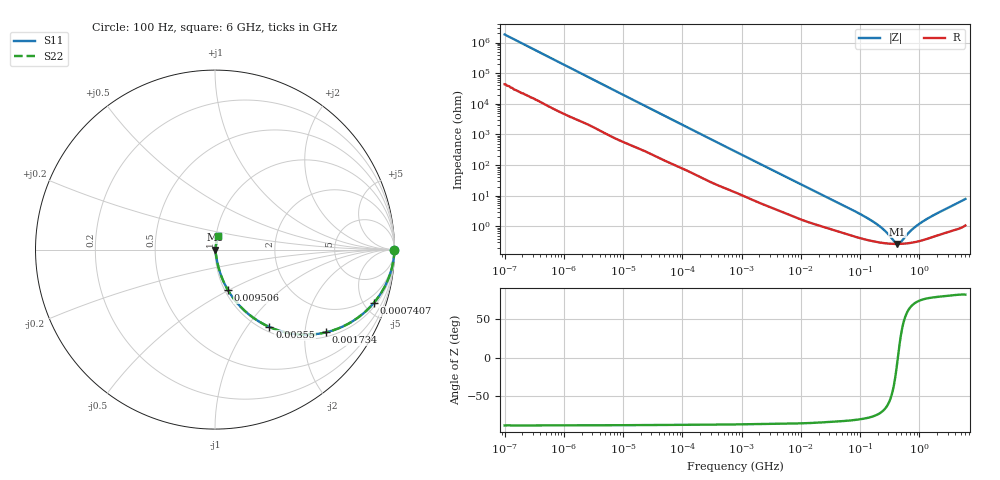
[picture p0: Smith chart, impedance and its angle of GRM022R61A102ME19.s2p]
!Murata Part Number: GRM022R61A102ME19
!These Parameters are Measured in Series Mode Connection
!Data Generated on Mar 30, 2021
!  o--ll--o
!Port1  Port2
!  o------o
!Operation Temp=25[degC], DC Bias Voltage=0[V]
!Freq. Start=100[Hz] Stop=6[GHz] 401[Steps]
# Hz S RI R 50
!Freq.(Hz) S11(Real) S11(Imag) S21(Real) S21(Imag) S12(Real) S12(Imag) S22(Real) S22(Imag)
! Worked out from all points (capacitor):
!   401 points, 100 Hz to 6 GHz, reference 50 ohm
!   read as one part in series: C = 865 pF near 109 Hz
!   lowest |Z| = 269 mohm at 427.4 MHz (marker M1)
!   series resonance near 435 MHz, so ESL is about 150 pH
!   S11 on the Smith chart (normalised r, x): 100 Hz: open; 740.7 kHz: 1.27, -5.86; 1.734 MHz: 1.13, -2.57; 3.55 MHz: 1.08, -1.28; 9.506 MHz: 1.04, -0.50; 6 GHz: 1.02, +0.16
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100  1 -5.46e-05  1.3e-06 5.46e-05  1.3e-06 5.46e-05  1 -5.46e-05
196  1 -0.000106  2.5e-06 0.000106  2.5e-06 0.000106  1 -0.000106
2008  1 -0.00105  2.97e-05 0.00105  2.97e-05 0.00105  1 -0.00105
40335  0.9989 -0.0198  0.00107 0.0198  0.00107 0.0198  0.9989 -0.0198
211427  0.9863 -0.0984  0.0137 0.0984  0.0137 0.0984  0.9863 -0.0984
740679  0.8852 -0.2966  0.1148 0.2966  0.1148 0.2966  0.8852 -0.2966
774597  0.8766 -0.3065  0.1234 0.3065  0.1234 0.3065  0.8766 -0.3065
1734173  0.6176 -0.461  0.3824 0.461  0.3824 0.461  0.6176 -0.461
3549919  0.3031 -0.4311  0.6969 0.4311  0.6969 0.4311  0.3031 -0.4311
5554849  0.1641 -0.3397  0.8359 0.3397  0.8359 0.3397  0.1641 -0.3397
9506416  0.0726 -0.2266  0.9274 0.2266  0.9274 0.2266  0.0726 -0.2266
1.555665e7  0.0348 -0.1473  0.9652 0.1473  0.9652 0.1473  0.0348 -0.1473
3.80911e7  0.0114 -0.0643  0.9886 0.0643  0.9886 0.0643  0.0114 -0.0643
1.334425e8  0.00391 -0.0181  0.9961 0.0181  0.9961 0.0181  0.00391 -0.0181
2.183701e8  0.00305 -0.00933  0.997 0.00933  0.997 0.00933  0.00305 -0.00933
3.124326e8  0.00275 -0.00426  0.9972 0.00426  0.9972 0.00426  0.00275 -0.00426
3.908258e8  0.00268 -0.00136  0.9973 0.00136  0.9973 0.00136  0.00268 -0.00136
4.274388e8  0.00268 -0.00022  0.9973 0.00022  0.9973 0.00022  0.00268 -0.00022
4.888888e8  0.0027 0.00149  0.9973 -0.00149  0.9973 -0.00149  0.0027 0.00149
7.31507e8  0.00296 0.00685  0.997 -0.00685  0.997 -0.00685  0.00296 0.00685
1.144649e9  0.00373 0.0139  0.9963 -0.0139  0.9963 -0.0139  0.00373 0.0139
6e9  0.0165 0.0759  0.9835 -0.0759  0.9835 -0.0759  0.0165 0.0759
